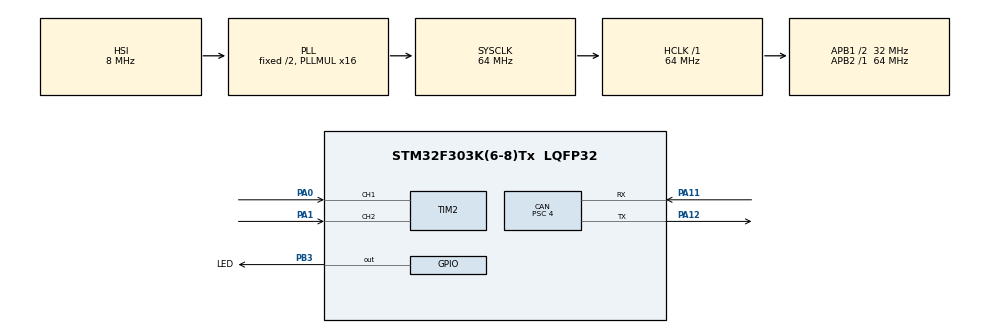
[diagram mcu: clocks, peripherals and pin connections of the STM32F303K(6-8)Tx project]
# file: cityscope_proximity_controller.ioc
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CAN.ABOM=ENABLE
CAN.AWUM=ENABLE
CAN.BS1=CAN_BS1_13TQ
CAN.BS2=CAN_BS2_2TQ
CAN.CalculateBaudRate=500000
CAN.CalculateTimeBit=2000
CAN.CalculateTimeQuantum=125.0
CAN.NART=ENABLE
CAN.Prescaler=4
CAN.RFLM=ENABLE
CAN.SJW=CAN_SJW_2TQ
CAN.TTCM=ENABLE
CAN.TXFP=ENABLE
FREERTOS.Tasks01=RPM_CalcuateTas,40,128,StartRPM_Calcuate,Default,NULL,Dynamic,NULL,NULL;canopenTask,48,128,canopen_task,Default,NULL,Dynamic,NULL,NULL
Mcu.Family=STM32F3
Mcu.Name=STM32F303K(6-8)Tx
Mcu.Package=LQFP32
NVIC.CAN_RX0_IRQn=true\:5\:0\:false\:false\:true\:true\:true\:true\:true
NVIC.CAN_RX1_IRQn=true\:5\:0\:false\:false\:true\:true\:true\:true\:true
NVIC.CAN_TX_IRQn=true\:5\:0\:false\:false\:true\:true\:true\:true\:true
NVIC.PriorityGroup=NVIC_PRIORITYGROUP_4
NVIC.TIM1_TRG_COM_TIM17_IRQn=true\:5\:0\:false\:false\:true\:true\:true\:true\:true
NVIC.TIM1_UP_TIM16_IRQn=true\:15\:0\:false\:false\:true\:false\:false\:true\:true
NVIC.TIM6_DAC1_IRQn=true\:5\:0\:false\:false\:true\:true\:true\:true\:true
NVIC.TimeBase=TIM1_UP_TIM16_IRQn
NVIC.TimeBaseIP=TIM1
PA0.GPIO_PuPd=GPIO_PULLUP
PA0.Signal=S_TIM2_CH1_ETR
PA1.GPIO_PuPd=GPIO_PULLUP
PA1.Signal=S_TIM2_CH2
PA11.GPIO_PuPd=GPIO_PULLUP
PA11.Mode=CAN_Activate
PA11.Signal=CAN_RX
PA12.Mode=CAN_Activate
PA12.Signal=CAN_TX
PA13.Mode=Serial_Wire
PA13.Signal=SYS_JTMS-SWDIO
PA14.Mode=Serial_Wire
PA14.Signal=SYS_JTCK-SWCLK
PB3.GPIO_Label=LED
PB3.Signal=GPIO_Output
ProjectManager.HeapSize=0x200
ProjectManager.StackSize=0x400
ProjectManager.TargetToolchain=Makefile
RCC.AHBFreq_Value=64000000
RCC.APB1CLKDivider=RCC_HCLK_DIV2
RCC.APB1Freq_Value=32000000
RCC.APB1TimFreq_Value=64000000
RCC.APB2Freq_Value=64000000
RCC.APB2TimFreq_Value=64000000
RCC.CortexFreq_Value=64000000
RCC.HCLKFreq_Value=64000000
RCC.HSE_VALUE=8000000
RCC.HSI_VALUE=8000000
RCC.PLLMUL=RCC_PLL_MUL16
RCC.SYSCLKFreq_VALUE=64000000
RCC.SYSCLKSourceVirtual=RCC_SYSCLKSOURCE_PLLCLK
SH.S_TIM2_CH1_ETR.0=TIM2_CH1,Encoder_Interface
SH.S_TIM2_CH2.0=TIM2_CH2,Encoder_Interface
TIM17.Period=1000
TIM17.Prescaler=63
TIM2.EncoderMode=TIM_ENCODERMODE_TI12
TIM2.IC1Filter=10
TIM3.Prescaler=64-1
TIM6.AutoReloadPreload=TIM_AUTORELOAD_PRELOAD_DISABLE
TIM6.Period=10000-1
TIM6.Prescaler=640-1
VP_FREERTOS_VS_CMSIS_V2.Mode=CMSIS_V2
VP_SYS_VS_tim1.Mode=TIM1
VP_TIM17_VS_ClockSourceINT.Mode=Enable_Timer
VP_TIM3_VS_ClockSourceINT.Mode=Internal
VP_TIM6_VS_ClockSourceINT.Mode=Enable_Timer
board=custom

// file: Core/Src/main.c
/* USER CODE BEGIN Header */
/**
 ******************************************************************************
 * @file           : main.c
 * @brief          : Main program body
 ******************************************************************************
 * @attention
 *
 * Copyright (c) 2023 STMicroelectronics.
 * All rights reserved.
 *
 * This software is licensed under terms that can be found in the LICENSE file
 * in the root directory of this software component.
 * If no LICENSE file comes with this software, it is provided AS-IS.
 *
 ******************************************************************************
 */
/* USER CODE END Header */
#include "main.h"
#include "cmsis_os.h"
#include "can.h"
#include "tim.h"
#include "gpio.h"

/* USER CODE BEGIN Includes */
#include "CO_app_STM32.h"
/* USER CODE END Includes */

void SystemClock_Config(void);
void MX_FREERTOS_Init(void);
/* USER CODE BEGIN PFP */
uint32_t get_NodeID(void);
uint32_t NodeID[1];

/* USER CODE END PFP */

int main(void)
{

  /* MCU Configuration--------------------------------------------------------*/

  /* Reset of all peripherals, Initializes the Flash interface and the Systick. */
  HAL_Init();

  /* Configure the system clock */
  SystemClock_Config();

  /* Initialize all configured peripherals */
  MX_GPIO_Init();
  MX_CAN_Init();
  MX_TIM3_Init();
  MX_TIM17_Init();
  MX_TIM2_Init();
  MX_TIM6_Init();
  /* USER CODE BEGIN 2 */
  Flash_Read_Data(0x0800FFFC, NodeID, 1);
  HAL_FLASH_Lock();
  HAL_TIM_Encoder_Start(&htim2, TIM_CHANNEL_ALL);
  //HAL_TIM_Encoder_Start_IT(&htim2,TIM_CHANNEL_ALL);
  HAL_TIM_Base_Start_IT(&htim6);
  /* USER CODE END 2 */

  /* Init scheduler */
  osKernelInitialize();  /* Call init function for freertos objects (in freertos.c) */
  MX_FREERTOS_Init();

  /* Start scheduler */
  osKernelStart();

  /* We should never get here as control is now taken by the scheduler */
  /* Infinite loop */
  while (1)
  {

  }
}

void SystemClock_Config(void)
{
  RCC_OscInitTypeDef RCC_OscInitStruct = {0};
  RCC_ClkInitTypeDef RCC_ClkInitStruct = {0};

  /** Initializes the RCC Oscillators according to the specified parameters
  * in the RCC_OscInitTypeDef structure.
  */
  RCC_OscInitStruct.OscillatorType = RCC_OSCILLATORTYPE_HSI;
  RCC_OscInitStruct.HSIState = RCC_HSI_ON;
  RCC_OscInitStruct.HSICalibrationValue = RCC_HSICALIBRATION_DEFAULT;
  RCC_OscInitStruct.PLL.PLLState = RCC_PLL_ON;
  RCC_OscInitStruct.PLL.PLLSource = RCC_PLLSOURCE_HSI;
  RCC_OscInitStruct.PLL.PLLMUL = RCC_PLL_MUL16;
  if (HAL_RCC_OscConfig(&RCC_OscInitStruct) != HAL_OK)
  {
    Error_Handler();
  }

  /** Initializes the CPU, AHB and APB buses clocks
  */
  RCC_ClkInitStruct.ClockType = RCC_CLOCKTYPE_HCLK|RCC_CLOCKTYPE_SYSCLK
                              |RCC_CLOCKTYPE_PCLK1|RCC_CLOCKTYPE_PCLK2;
  RCC_ClkInitStruct.SYSCLKSource = RCC_SYSCLKSOURCE_PLLCLK;
  RCC_ClkInitStruct.AHBCLKDivider = RCC_SYSCLK_DIV1;
  RCC_ClkInitStruct.APB1CLKDivider = RCC_HCLK_DIV2;
  RCC_ClkInitStruct.APB2CLKDivider = RCC_HCLK_DIV1;

  if (HAL_RCC_ClockConfig(&RCC_ClkInitStruct, FLASH_LATENCY_2) != HAL_OK)
  {
    Error_Handler();
  }
}

/* USER CODE BEGIN 4 */

uint32_t get_NodeID(void)
{
  return NodeID[0];
}

/* USER CODE END 4 */

void Error_Handler(void)
{
  __disable_irq();
  while (1)
  {
  }
}

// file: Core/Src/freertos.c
/* USER CODE BEGIN Header */
/**
 ******************************************************************************
 * File Name          : freertos.c
 * Description        : Code for freertos applications
 ******************************************************************************
 * @attention
 *
 * Copyright (c) 2023 STMicroelectronics.
 * All rights reserved.
 *
 * This software is licensed under terms that can be found in the LICENSE file
 * in the root directory of this software component.
 * If no LICENSE file comes with this software, it is provided AS-IS.
 *
 ******************************************************************************
 */
/* USER CODE END Header */

#include "FreeRTOS.h"
#include "task.h"
#include "main.h"
#include "cmsis_os.h"
/* USER CODE BEGIN Includes */
#include "CO_app_STM32.h"
#include "OD.h"
#include "tim.h"
#include "comment.h"
#include "can.h"
/* USER CODE END Includes */

/* USER CODE BEGIN PTD */
volatile uint16_t rpm = 0; // volatile use to let gdp get value
volatile int timer_counter = 0;
volatile int encoder_raw_data = 0;
/* USER CODE END PTD */

/* Definitions for RPM_CalcuateTas */
osThreadId_t RPM_CalcuateTasHandle;
const osThreadAttr_t RPM_CalcuateTas_attributes = {
    .name = "RPM_CalcuateTas",
    .stack_size = 128 * 4,
    .priority = (osPriority_t)osPriorityHigh,
};
/* Definitions for canopenTask */
osThreadId_t canopenTaskHandle;
const osThreadAttr_t canopenTask_attributes = {
    .name = "canopenTask",
    .stack_size = 128 * 4,
    .priority = (osPriority_t)osPriorityRealtime,
};

void StartRPM_Calcuate(void *argument);
void canopen_task(void *argument);

void MX_FREERTOS_Init(void); /* (MISRA C 2004 rule 8.1) */

void MX_FREERTOS_Init(void)
{

  /* Create the thread(s) */
  /* creation of RPM_CalcuateTas */
  RPM_CalcuateTasHandle = osThreadNew(StartRPM_Calcuate, NULL, &RPM_CalcuateTas_attributes);

  /* creation of canopenTask */
  canopenTaskHandle = osThreadNew(canopen_task, NULL, &canopenTask_attributes);

}

void StartRPM_Calcuate(void *argument)
{
  /* USER CODE BEGIN StartRPM_Calcuate */
  /* Infinite loop */

  for (;;)
  {
    CO_TPDOsendRequest(&canopenNodeSTM32->canOpenStack->TPDO[0]);
    osDelay(100);
  }
  /* USER CODE END StartRPM_Calcuate */
}

void canopen_task(void *argument)
{
  /* USER CODE BEGIN canopen_task */
  CANopenNodeSTM32 canOpenNodeSTM32;
  canOpenNodeSTM32.CANHandle = &hcan;
  canOpenNodeSTM32.HWInitFunction = MX_CAN_Init;
  canOpenNodeSTM32.timerHandle = &htim17;
  canOpenNodeSTM32.desiredNodeID = 18;
  canOpenNodeSTM32.baudrate = 125;
  canopen_app_init(&canOpenNodeSTM32);
  /* Infinite loop */
  for (;;)
  {
    canopen_app_process();
    vTaskDelay(1);
  }
  /* USER CODE END canopen_task */
}

/* USER CODE BEGIN Application */
void HAL_TIM_PeriodElapsedCallback(TIM_HandleTypeDef *htim)
{
  /* USER CODE BEGIN Callback 0 */
  /* USER CODE END Callback 0 */
  if (htim->Instance == TIM1)
  {
    HAL_IncTick();
  }
  /* USER CODE BEGIN Callback 1 */
  if (htim == canopenNodeSTM32->timerHandle)
  {
    canopen_app_interrupt();
  }
  if (htim->Instance == TIM6)
  {
    if (timer_counter == 1)
    {
      encoder_raw_data = (int)((TIM2->CNT) >> 2);
      if (encoder_raw_data < 0) // prevent over flow
      {
        encoder_raw_data *= -1;
      }
      if (encoder_raw_data > 10000000)
      {
        timer_counter = 0;
        TIM2->CNT &= 0x0;
      }
      else
      {
        rpm = encoder_raw_data;
        OD_PERSIST_COMM.x6000_rpm_data = rpm /2;
        OD_set_u16(OD_find(OD, 0x6000), 0x000, OD_PERSIST_COMM.x6000_rpm_data, false);
        timer_counter = 0;
        TIM2->CNT &= 0x0;
      }
    }
    else
    {
      timer_counter += 1;
    }
  }
  /* USER CODE END Callback 1 */
}
/* USER CODE END Application */
